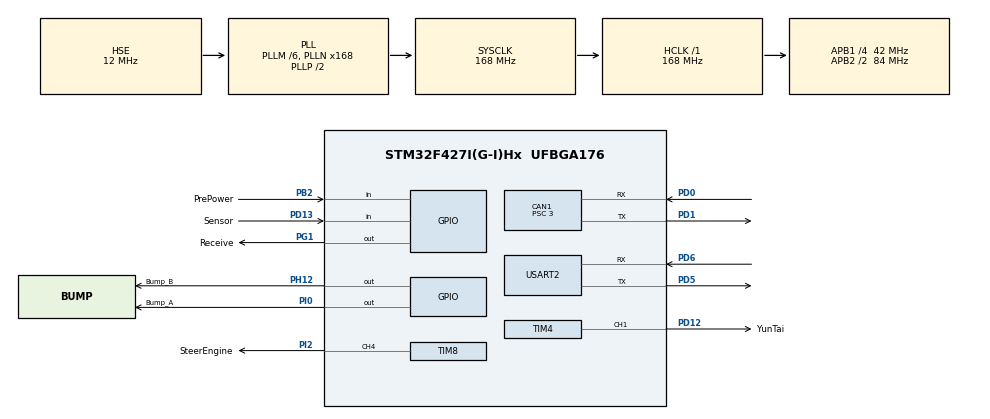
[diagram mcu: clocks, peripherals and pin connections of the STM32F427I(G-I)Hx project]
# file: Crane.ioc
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CAN1.BS1=CAN_BS1_10TQ
CAN1.BS2=CAN_BS2_3TQ
CAN1.CalculateBaudRate=1000000
CAN1.CalculateTimeBit=1000
CAN1.CalculateTimeQuantum=71.42857142857143
CAN1.Prescaler=3
FREERTOS.Tasks01=SupportLifting,24,4096,Lifting,Default,NULL,Dynamic,NULL,NULL;Signal,24,4096,SignalTransmission,Default,NULL,Dynamic,NULL,NULL;Transmit,24,1028,Printf,Default,NULL,Dynamic,NULL,NULL
FREERTOS.configTOTAL_HEAP_SIZE=40960
Mcu.Family=STM32F4
Mcu.Name=STM32F427I(G-I)Hx
Mcu.Package=UFBGA176
NVIC.CAN1_RX0_IRQn=true\:5\:0\:false\:false\:true\:true\:true\:true\:true
NVIC.PriorityGroup=NVIC_PRIORITYGROUP_4
NVIC.TIM1_UP_TIM10_IRQn=true\:15\:0\:false\:false\:true\:false\:false\:true\:true
NVIC.TIM8_CC_IRQn=true\:5\:0\:false\:false\:true\:true\:true\:true\:true
NVIC.TimeBase=TIM1_UP_TIM10_IRQn
NVIC.TimeBaseIP=TIM1
PA13.Mode=Serial_Wire
PA13.Signal=SYS_JTMS-SWDIO
PA14.Mode=Serial_Wire
PA14.Signal=SYS_JTCK-SWCLK
PB2/BOOT1.GPIO_Label=PrePower
PB2/BOOT1.GPIO_PuPd=GPIO_PULLDOWN
PB2/BOOT1.Signal=GPIO_Input
PC14/OSC32_IN.Mode=LSE-External-Oscillator
PC14/OSC32_IN.Signal=RCC_OSC32_IN
PC15/OSC32_OUT.Mode=LSE-External-Oscillator
PC15/OSC32_OUT.Signal=RCC_OSC32_OUT
PD0.Mode=CAN_Activate
PD0.Signal=CAN1_RX
PD1.Mode=CAN_Activate
PD1.Signal=CAN1_TX
PD12.GPIO_Label=YunTai
PD12.Signal=S_TIM4_CH1
PD13.GPIO_Label=Sensor
PD13.GPIO_PuPd=GPIO_PULLDOWN
PD13.Signal=GPIO_Input
PD5.Mode=Asynchronous
PD5.Signal=USART2_TX
PD6.Mode=Asynchronous
PD6.Signal=USART2_RX
PG1.GPIO_Label=Receive
PG1.GPIO_ModeDefaultOutputPP=GPIO_MODE_OUTPUT_PP
PG1.GPIO_PuPd=GPIO_PULLDOWN
PG1.GPIO_Speed=GPIO_SPEED_FREQ_HIGH
PG1.PinState=GPIO_PIN_RESET
PG1.Signal=GPIO_Output
PH0/OSC_IN.Mode=HSE-External-Oscillator
PH0/OSC_IN.Signal=RCC_OSC_IN
PH1/OSC_OUT.Mode=HSE-External-Oscillator
PH1/OSC_OUT.Signal=RCC_OSC_OUT
PH12.GPIO_Label=Bump_B
PH12.GPIO_PuPd=GPIO_PULLUP
PH12.GPIO_Speed=GPIO_SPEED_FREQ_HIGH
PH12.PinState=GPIO_PIN_SET
PH12.Signal=GPIO_Output
PI0.GPIO_Label=Bump_A
PI0.GPIO_PuPd=GPIO_PULLUP
PI0.GPIO_Speed=GPIO_SPEED_FREQ_HIGH
PI0.PinState=GPIO_PIN_SET
PI0.Signal=GPIO_Output
PI2.GPIO_Label=SteerEngine
PI2.Signal=S_TIM8_CH4
ProjectManager.HeapSize=0x200
ProjectManager.StackSize=0x400
ProjectManager.TargetToolchain=MDK-ARM V5.32
RCC.48MHZClocksFreq_Value=84000000
RCC.AHBFreq_Value=168000000
RCC.APB1CLKDivider=RCC_HCLK_DIV4
RCC.APB1Freq_Value=42000000
RCC.APB1TimFreq_Value=84000000
RCC.APB2CLKDivider=RCC_HCLK_DIV2
RCC.APB2Freq_Value=84000000
RCC.APB2TimFreq_Value=168000000
RCC.CortexFreq_Value=168000000
RCC.HCLKFreq_Value=168000000
RCC.HSE_VALUE=12000000
RCC.HSI_VALUE=16000000
RCC.PLLM=6
RCC.PLLN=168
RCC.PLLSourceVirtual=RCC_PLLSOURCE_HSE
RCC.SYSCLKFreq_VALUE=168000000
RCC.SYSCLKSource=RCC_SYSCLKSOURCE_PLLCLK
RCC.VCOOutputFreq_Value=336000000
SH.S_TIM4_CH1.0=TIM4_CH1,PWM Generation1 CH1
SH.S_TIM8_CH4.0=TIM8_CH4,PWM Generation4 CH4
TIM4.AutoReloadPreload=TIM_AUTORELOAD_PRELOAD_ENABLE
TIM4.Channel-PWM\ Generation1\ CH1=TIM_CHANNEL_1
TIM4.Period=19999
TIM4.Prescaler=83
TIM4.Pulse-PWM\ Generation1\ CH1=1393
TIM8.AutoReloadPreload=TIM_AUTORELOAD_PRELOAD_DISABLE
TIM8.Channel-PWM\ Generation4\ CH4=TIM_CHANNEL_4
TIM8.OCMode_PWM-PWM\ Generation4\ CH4=TIM_OCMODE_PWM2
TIM8.OCPolarity_4=TIM_OCPOLARITY_LOW
TIM8.Period=19999
TIM8.Prescaler=167
TIM8.Pulse-PWM\ Generation4\ CH4=500
USART2.VirtualMode=VM_ASYNC
VP_FREERTOS_VS_CMSIS_V2.Mode=CMSIS_V2
VP_SYS_VS_tim1.Mode=TIM1
VP_TIM4_VS_ClockSourceINT.Mode=Internal
VP_TIM8_VS_ClockSourceINT.Mode=Internal
board=custom

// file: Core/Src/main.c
/* USER CODE BEGIN Header */
/**
  ******************************************************************************
  * @file           : main.c
  * @brief          : Main program body
  ******************************************************************************
  * @attention
  *
  * Copyright (c) 2023 STMicroelectronics.
  * All rights reserved.
  *
  * This software is licensed under terms that can be found in the LICENSE file
  * in the root directory of this software component.
  * If no LICENSE file comes with this software, it is provided AS-IS.
  *
  ******************************************************************************
  */
/* USER CODE END Header */
#include "main.h"
#include "cmsis_os.h"
#include "can.h"
#include "tim.h"
#include "usart.h"
#include "gpio.h"

void SystemClock_Config(void);
void MX_FREERTOS_Init(void);

int main(void)
{

  /* MCU Configuration--------------------------------------------------------*/

  /* Reset of all peripherals, Initializes the Flash interface and the Systick. */
  HAL_Init();

  /* Configure the system clock */
  SystemClock_Config();

  /* Initialize all configured peripherals */
  MX_GPIO_Init();
  MX_CAN1_Init();
  MX_USART2_UART_Init();
  MX_TIM8_Init();
  MX_TIM4_Init();
  /* USER CODE BEGIN 2 */
	HAL_CAN_Start(&hcan1);
	HAL_TIM_PWM_Start(&htim4, TIM_CHANNEL_1);
	HAL_TIM_PWM_Start(&htim8, TIM_CHANNEL_4);
  /* USER CODE END 2 */

  /* Init scheduler */
  osKernelInitialize();  /* Call init function for freertos objects (in freertos.c) */
  MX_FREERTOS_Init();

  /* Start scheduler */
  osKernelStart();
  /* We should never get here as control is now taken by the scheduler */
  /* Infinite loop */
  while (1)
  {

  }
}

void SystemClock_Config(void)
{
  RCC_OscInitTypeDef RCC_OscInitStruct = {0};
  RCC_ClkInitTypeDef RCC_ClkInitStruct = {0};

  /** Configure the main internal regulator output voltage
  */
  __HAL_RCC_PWR_CLK_ENABLE();
  __HAL_PWR_VOLTAGESCALING_CONFIG(PWR_REGULATOR_VOLTAGE_SCALE1);

  /** Initializes the RCC Oscillators according to the specified parameters
  * in the RCC_OscInitTypeDef structure.
  */
  RCC_OscInitStruct.OscillatorType = RCC_OSCILLATORTYPE_HSE;
  RCC_OscInitStruct.HSEState = RCC_HSE_ON;
  RCC_OscInitStruct.PLL.PLLState = RCC_PLL_ON;
  RCC_OscInitStruct.PLL.PLLSource = RCC_PLLSOURCE_HSE;
  RCC_OscInitStruct.PLL.PLLM = 6;
  RCC_OscInitStruct.PLL.PLLN = 168;
  RCC_OscInitStruct.PLL.PLLP = RCC_PLLP_DIV2;
  RCC_OscInitStruct.PLL.PLLQ = 4;
  if (HAL_RCC_OscConfig(&RCC_OscInitStruct) != HAL_OK)
  {
    Error_Handler();
  }

  /** Initializes the CPU, AHB and APB buses clocks
  */
  RCC_ClkInitStruct.ClockType = RCC_CLOCKTYPE_HCLK|RCC_CLOCKTYPE_SYSCLK
                              |RCC_CLOCKTYPE_PCLK1|RCC_CLOCKTYPE_PCLK2;
  RCC_ClkInitStruct.SYSCLKSource = RCC_SYSCLKSOURCE_PLLCLK;
  RCC_ClkInitStruct.AHBCLKDivider = RCC_SYSCLK_DIV1;
  RCC_ClkInitStruct.APB1CLKDivider = RCC_HCLK_DIV4;
  RCC_ClkInitStruct.APB2CLKDivider = RCC_HCLK_DIV2;

  if (HAL_RCC_ClockConfig(&RCC_ClkInitStruct, FLASH_LATENCY_5) != HAL_OK)
  {
    Error_Handler();
  }
}

void HAL_TIM_PeriodElapsedCallback(TIM_HandleTypeDef *htim)
{
  if (htim->Instance == TIM1) {
    HAL_IncTick();
  }
}

void Error_Handler(void)
{
  __disable_irq();
  while (1)
  {
  }
}

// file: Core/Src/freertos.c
/* USER CODE BEGIN Header */
/**
  ******************************************************************************
  * File Name          : freertos.c
  * Description        : Code for freertos applications
  ******************************************************************************
  * @attention
  *
  * Copyright (c) 2023 STMicroelectronics.
  * All rights reserved.
  *
  * This software is licensed under terms that can be found in the LICENSE file
  * in the root directory of this software component.
  * If no LICENSE file comes with this software, it is provided AS-IS.
  *
  ******************************************************************************
  */
/* USER CODE END Header */

#include "FreeRTOS.h"
#include "task.h"
#include "main.h"
#include "cmsis_os.h"

/* USER CODE BEGIN Includes */
#include <tim.h>
#include <gpio.h>
#include <pid.h>
#include <usart.h>
/* USER CODE END Includes */

/* USER CODE BEGIN PTD */
extern pid_speed* MOTOR3508_PID_SPEED;
extern pid_speed* MOTOR2006_PID_SPEED;

extern pid_position* MOTOR3508_PID_POSITION;
extern pid_position_speed* MOTOR3508_PID_POSITION_SPEED;

extern pid_position_speed* MOTOR6020_PID_POSITION_SPEED;
/* USER CODE END PTD */

/* USER CODE BEGIN PD */

#define	BOXUPOSITIONFIRST					15000						//第一个箱子放置位置上方
#define	BOXPOSITIONFIRST					9780						//第一个箱子放置位置

#define	BOXUPOSITIONSECOND				18000						//第二个箱子放置位置上方
#define	BOXPOSITIONSECOND					16333						//第二个箱子放置位置

#define BOXUPOSITIONTHIRD					24000						//第三个箱子放置位置上方
#define	BOXPOSITIONTHIRD					22869						//第三个箱子放置位置

#define	COCAUPOSITION							13309						//可乐放置位置上方
#define COCAPOSITION							10325						//可乐放置位置
#define COCALLPOSITION						8525						//所有可乐放置位置

#define	INITPOSITION							8000						//3508初始位置
#define	BOXGET										6000						//3508取箱子位置
#define COCAGET										5000						//3508取可乐位置

#define BOXGIVEFIRST							17052						//放置下层箱子位置
#define BOXGIVEFIRSTUP						18000						//放置下层箱子位置上方
#define	BOXGIVESECOND							24052						//放置上次箱子位置
#define	BOXGIVESECONDUP						26000						//放置上次箱子位置上方

#define COCAGIVE									23325						//放置可乐位置
#define	COCAGIVEUP								25000						//放置可乐位置上方

#define	BOX6020										1775						//6020放置箱子位置
#define	COCA6020									1165						//6020放置可乐位置
#define	COCALL6020								1117						//6020取所有可乐位置
#define INIT6020									1393						//6020初始位置

#define	COCAFIR6020								1440						//6020放第一个可乐
#define COCASEC6020								1393						//6020放第二个可乐
#define COCATHI6020								1340						//6020放第三个可乐
#define COCAALL6020								1393						//6020放置所有可乐

#define	SPEED2006FOR							2000						//2006前段速度
#define	SPEED2006MID							2000						//2006中段速度
#define	SPEED2006BACK							4000						//2006后段速度

#define DJSPEED										30							//舵机速度
#define	DJANGLEFIR								4								//可乐一位置
#define DJANGLESEC								124							//可乐二位置
#define	DJANGLETHI								244							//可乐三位置
#define DJANGLE										20							//可乐位置

#define	Mode											0								//模式切换 0一个一个抓	1抓全部

/* USER CODE END PD */

/* USER CODE BEGIN Variables */

int			SensorPos 			= 0;
int			Sensor					=	0;
int			SensorF					=	1;
char		ItemType[1]			= "A";
uint8_t	RecData[1]			=	"N";
int			CocaNum					= 0;
int			BoxNum					= 0;

int			steering_speed;
float		angle;
int			step_angle			=	0;
int			MODE						= Mode;
int			PrePowerStatus	=	0;
/* USER CODE END Variables */
/* Definitions for SupportLifting */
osThreadId_t SupportLiftingHandle;
const osThreadAttr_t SupportLifting_attributes = {
  .name = "SupportLifting",
  .stack_size = 4096 * 4,
  .priority = (osPriority_t) osPriorityNormal,
};
/* Definitions for Signal */
osThreadId_t SignalHandle;
const osThreadAttr_t Signal_attributes = {
  .name = "Signal",
  .stack_size = 4096 * 4,
  .priority = (osPriority_t) osPriorityNormal,
};
/* Definitions for Transmit */
osThreadId_t TransmitHandle;
const osThreadAttr_t Transmit_attributes = {
  .name = "Transmit",
  .stack_size = 1028 * 4,
  .priority = (osPriority_t) osPriorityNormal,
};

/* USER CODE BEGIN FunctionPrototypes */

void steering_angle(int steering_speed, float angle)
{
  angle = 6.5f * angle + 495.f;
  if(step_angle <= angle)
  {
    for(;step_angle < angle;)
    {
      step_angle += steering_speed;
      __HAL_TIM_SetCompare(&htim8, TIM_CHANNEL_4, step_angle);
      vTaskDelay(50);
    }
    __HAL_TIM_SetCompare(&htim8, TIM_CHANNEL_4, angle);
  }
  else if(step_angle > angle)
  {
    for(;step_angle > angle;)
    {
      step_angle -= steering_speed;
      __HAL_TIM_SetCompare(&htim8, TIM_CHANNEL_4, step_angle);
      vTaskDelay(50);
    }
    __HAL_TIM_SetCompare(&htim8, TIM_CHANNEL_4, angle);
  }
  else if(step_angle == angle)
    __HAL_TIM_SetCompare(&htim8, TIM_CHANNEL_4, angle);

}

/* USER CODE END FunctionPrototypes */

void Lifting(void *argument);
void SignalTransmission(void *argument);
void Printf(void *argument);

void MX_FREERTOS_Init(void); /* (MISRA C 2004 rule 8.1) */

void MX_FREERTOS_Init(void) {

  /* Create the thread(s) */
  /* creation of SupportLifting */
  SupportLiftingHandle = osThreadNew(Lifting, NULL, &SupportLifting_attributes);

  /* creation of Signal */
  SignalHandle = osThreadNew(SignalTransmission, NULL, &Signal_attributes);

  /* creation of Transmit */
  TransmitHandle = osThreadNew(Printf, NULL, &Transmit_attributes);

}

void Lifting(void *argument)
{
  /* USER CODE BEGIN Lifting */
  /* Infinite loop */
  for(;;)
  {
		if(PrePower == 1)
		{
		static _Bool Init = 0;
		if(Init == 0)
		{
			MOTOR3508_PID_POSITION_SPEED->TarPos = 0;
			MOTOR2006_PID_SPEED->TarSpd = 0;
			__HAL_TIM_SetCompare(&htim4, TIM_CHANNEL_1, INIT6020);
			steering_angle(30, 3);
			BUMP_A_CLOSE;
			BUMP_B_CLOSE;
			vTaskDelay(500);
		}
		Init = 1;

		static _Bool FirPart = 0;
		if(FirPart == 0)
		{
			MOTOR2006_PID_SPEED->TarSpd = SPEED2006FOR;
			MOTOR3508_PID_POSITION_SPEED->TarPos = INITPOSITION;
		}
		FirPart = 1;

		if((SensorPos == 1 || SensorPos == 2 || SensorPos == 3 || SensorPos == 4 || SensorPos == 5 || SensorPos == 6) && Sensor == 1)
		{
			MOTOR2006_PID_SPEED->TarSpd = 0;
			vTaskDelay(100);
			if(ItemType[0] == 'B')
			{
				ItemType[0] = 'A';
				BUMP_A_OPEN;
				MOTOR3508_PID_POSITION_SPEED->TarPos = BOXGET;
				vTaskDelay(2000);
				if(BoxNum == 0)
					MOTOR3508_PID_POSITION_SPEED->TarPos = BOXUPOSITIONFIRST;
				else if(BoxNum == 1)
					MOTOR3508_PID_POSITION_SPEED->TarPos = BOXUPOSITIONSECOND;
				else if(BoxNum == 2)
					MOTOR3508_PID_POSITION_SPEED->TarPos = BOXUPOSITIONTHIRD;
				vTaskDelay(2000);
				__HAL_TIM_SetCompare(&htim4, TIM_CHANNEL_1, BOX6020);
        vTaskDelay(3000);
				if(BoxNum == 0)
				{
					BoxNum++;
					MOTOR3508_PID_POSITION_SPEED->TarPos = BOXPOSITIONFIRST;
					vTaskDelay(2000);
					BUMP_A_CLOSE;
					vTaskDelay(1500);
					MOTOR3508_PID_POSITION_SPEED->TarPos = BOXUPOSITIONFIRST;
				}
				else if(BoxNum == 1)
				{
					BoxNum++;
					MOTOR3508_PID_POSITION_SPEED->TarPos = BOXPOSITIONSECOND;
					vTaskDelay(2000);
					BUMP_A_CLOSE;
					vTaskDelay(1500);
					MOTOR3508_PID_POSITION_SPEED->TarPos = BOXUPOSITIONSECOND;
				}
				else if(BoxNum == 2)
				{
					BoxNum++;
					MOTOR3508_PID_POSITION_SPEED->TarPos = BOXPOSITIONTHIRD;
					vTaskDelay(2000);
					BUMP_A_CLOSE;
					vTaskDelay(1500);
					MOTOR3508_PID_POSITION_SPEED->TarPos = BOXUPOSITIONTHIRD;
				}
				vTaskDelay(1000);
				if(SensorPos == 6)
				{
					MOTOR2006_PID_SPEED->TarSpd = SPEED2006BACK;
					vTaskDelay(500);
				}
				else
				{
          __HAL_TIM_SetCompare(&htim4, TIM_CHANNEL_1, INIT6020);
          vTaskDelay(2000);
					MOTOR3508_PID_POSITION_SPEED->TarPos = INITPOSITION;
					MOTOR2006_PID_SPEED->TarSpd = SPEED2006MID;
				}
				Sensor = 0;
			}
			else if(ItemType[0] == 'C')
			{
				ItemType[0] = 'A';
				BUMP_A_OPEN;
				MOTOR3508_PID_POSITION_SPEED->TarPos = COCAGET;
				vTaskDelay(2000);
				MOTOR3508_PID_POSITION_SPEED->TarPos = COCAUPOSITION;
				__HAL_TIM_SetCompare(&htim4, TIM_CHANNEL_1, COCA6020);
				if(CocaNum == 0)
				{
					CocaNum++;
					steering_angle(DJSPEED, DJANGLEFIR);
				}
				else if(CocaNum == 1)
				{
					CocaNum++;
					steering_angle(DJSPEED, DJANGLESEC);
				}
				else if(CocaNum == 2)
				{
					CocaNum++;
					steering_angle(DJSPEED, DJANGLETHI);
				}
        vTaskDelay(2500);
				MOTOR3508_PID_POSITION_SPEED->TarPos = COCAPOSITION;
				vTaskDelay(500);
				BUMP_A_CLOSE;
				vTaskDelay(1500);
				MOTOR3508_PID_POSITION_SPEED->TarPos = COCAUPOSITION;
				if(SensorPos == 6)
				{
					MOTOR3508_PID_POSITION_SPEED->TarPos = BOXUPOSITIONTHIRD;
					MOTOR2006_PID_SPEED->TarSpd = SPEED2006BACK;
					__HAL_TIM_SetCompare(&htim4, TIM_CHANNEL_1, BOX6020);
				}
				else
				{
          __HAL_TIM_SetCompare(&htim4, TIM_CHANNEL_1, INIT6020);
          vTaskDelay(3000);
					MOTOR3508_PID_POSITION_SPEED->TarPos = INITPOSITION;
					MOTOR2006_PID_SPEED->TarSpd = SPEED2006MID;
				}
				Sensor = 0;
			}
		}

		if(SensorPos == 7 && Sensor == 1)
		{
			MOTOR2006_PID_SPEED->TarSpd = 0;
			vTaskDelay(500);
			for(;BoxNum >= 1;BoxNum--)
			{
				if(BoxNum == 2)
				{
					BUMP_A_OPEN;
					MOTOR3508_PID_POSITION_SPEED->TarPos = BOXPOSITIONTHIRD;
					vTaskDelay(1500);
					MOTOR3508_PID_POSITION_SPEED->TarPos = BOXUPOSITIONTHIRD;
					vTaskDelay(1500);
					__HAL_TIM_SetCompare(&htim4, TIM_CHANNEL_1, INIT6020);
					vTaskDelay(3000);
					MOTOR3508_PID_POSITION_SPEED->TarPos = BOXGIVEFIRST;												//A4纸下层箱子位置
					vTaskDelay(1500);
					BUMP_A_CLOSE;
					vTaskDelay(1500);
					MOTOR3508_PID_POSITION_SPEED->TarPos = BOXUPOSITIONSECOND;
					vTaskDelay(1500);
					__HAL_TIM_SetCompare(&htim4, TIM_CHANNEL_1, BOX6020);
          vTaskDelay(2000);
				}
				else if(BoxNum == 1)
				{
					BUMP_A_OPEN;
					MOTOR3508_PID_POSITION_SPEED->TarPos = BOXPOSITIONSECOND;
					vTaskDelay(1500);
					MOTOR3508_PID_POSITION_SPEED->TarPos = BOXGIVESECONDUP;
					vTaskDelay(1500);
					__HAL_TIM_SetCompare(&htim4, TIM_CHANNEL_1, INIT6020);
					vTaskDelay(3000);
					MOTOR3508_PID_POSITION_SPEED->TarPos = BOXGIVESECOND;												//A4纸上层箱子位置
					vTaskDelay(1500);
					BUMP_A_CLOSE;
					vTaskDelay(1500);
					MOTOR3508_PID_POSITION_SPEED->TarPos = BOXGIVESECONDUP;
					vTaskDelay(1500);
					__HAL_TIM_SetCompare(&htim4, TIM_CHANNEL_1, BOX6020);
				}
        vTaskDelay(2000);
			}
			MOTOR2006_PID_SPEED->TarSpd = SPEED2006BACK;

			Sensor = 0;
		}
		else if(SensorPos == 8 && Sensor == 1 && MODE == 0)
		{
			MOTOR2006_PID_SPEED->TarSpd = 0;
			vTaskDelay(500);
			{
				BUMP_A_OPEN;
				MOTOR3508_PID_POSITION_SPEED->TarPos = BOXPOSITIONFIRST;
				vTaskDelay(1500);
				MOTOR3508_PID_POSITION_SPEED->TarPos = BOXGIVEFIRSTUP;
				vTaskDelay(1500);
				__HAL_TIM_SetCompare(&htim4, TIM_CHANNEL_1, INIT6020);
				vTaskDelay(3000);
				MOTOR3508_PID_POSITION_SPEED->TarPos = BOXGIVEFIRST;												//A4纸下层箱子位置
				vTaskDelay(1500);
				BUMP_A_CLOSE;
				vTaskDelay(1500);
				MOTOR3508_PID_POSITION_SPEED->TarPos = BOXGIVEFIRSTUP;
				vTaskDelay(1500);
				__HAL_TIM_SetCompare(&htim4, TIM_CHANNEL_1, COCA6020);
				steering_angle(DJSPEED, DJANGLEFIR);
				vTaskDelay(2000);
			}

			for(;CocaNum >= 0;CocaNum--)
			{
				if(CocaNum == 2)
				{
					BUMP_A_OPEN;
					MOTOR3508_PID_POSITION_SPEED->TarPos = COCAPOSITION;
					vTaskDelay(1500);
					MOTOR3508_PID_POSITION_SPEED->TarPos = COCAGIVEUP;
					vTaskDelay(1500);
					__HAL_TIM_SetCompare(&htim4, TIM_CHANNEL_1, COCAFIR6020);
					vTaskDelay(3000);
					MOTOR3508_PID_POSITION_SPEED->TarPos = COCAGIVE;
					vTaskDelay(1500);
					BUMP_A_CLOSE;
					vTaskDelay(2000);
					MOTOR3508_PID_POSITION_SPEED->TarPos = COCAGIVEUP;
					vTaskDelay(1500);
					__HAL_TIM_SetCompare(&htim4, TIM_CHANNEL_1, COCA6020);
					steering_angle(DJSPEED, DJANGLESEC);
				vTaskDelay(3000);
				}
				if(CocaNum == 1)
				{
					BUMP_A_OPEN;
					MOTOR3508_PID_POSITION_SPEED->TarPos = COCAPOSITION;
					vTaskDelay(1500);
					MOTOR3508_PID_POSITION_SPEED->TarPos = COCAGIVEUP;
					vTaskDelay(1500);
					__HAL_TIM_SetCompare(&htim4, TIM_CHANNEL_1, COCASEC6020);
					vTaskDelay(3000);
					MOTOR3508_PID_POSITION_SPEED->TarPos = COCAGIVE;
					vTaskDelay(1500);
					BUMP_A_CLOSE;
					vTaskDelay(2000);
					MOTOR3508_PID_POSITION_SPEED->TarPos = COCAGIVEUP;
					vTaskDelay(1500);
					__HAL_TIM_SetCompare(&htim4, TIM_CHANNEL_1, COCA6020);
					steering_angle(DJSPEED, DJANGLETHI);
				vTaskDelay(3000);
				}
				if(CocaNum == 0)
				{
					BUMP_A_OPEN;
					MOTOR3508_PID_POSITION_SPEED->TarPos = COCAPOSITION;
					vTaskDelay(1500);
					MOTOR3508_PID_POSITION_SPEED->TarPos = COCAGIVEUP;
					vTaskDelay(1500);
					__HAL_TIM_SetCompare(&htim4, TIM_CHANNEL_1, COCATHI6020);
					vTaskDelay(3000);
					MOTOR3508_PID_POSITION_SPEED->TarPos = COCAGIVE;
					vTaskDelay(1500);
					BUMP_A_CLOSE;
					vTaskDelay(2000);
					MOTOR3508_PID_POSITION_SPEED->TarPos = COCAGIVEUP;
					vTaskDelay(1500);
				}
			}
			Sensor = 0;
		}
		else if(SensorPos == 8 && Sensor == 1 && MODE == 1)
		{
			MOTOR2006_PID_SPEED->TarSpd = 0;
			vTaskDelay(1000);
			{
				BUMP_A_OPEN;
				MOTOR3508_PID_POSITION_SPEED->TarPos = BOXPOSITIONFIRST;
				vTaskDelay(1500);
				MOTOR3508_PID_POSITION_SPEED->TarPos = BOXGIVEFIRSTUP;
				vTaskDelay(1500);
				__HAL_TIM_SetCompare(&htim4, TIM_CHANNEL_1, INIT6020);
				vTaskDelay(3000);
				MOTOR3508_PID_POSITION_SPEED->TarPos = BOXGIVEFIRST;												//A4纸下层箱子位置
				vTaskDelay(1500);
				BUMP_A_CLOSE;
				vTaskDelay(1500);
				MOTOR3508_PID_POSITION_SPEED->TarPos = BOXGIVEFIRSTUP;
				vTaskDelay(1500);
				__HAL_TIM_SetCompare(&htim4, TIM_CHANNEL_1, COCALL6020);
				steering_angle(DJSPEED, DJANGLE);
				vTaskDelay(2000);
			}
			BUMP_B_OPEN;
			MOTOR3508_PID_POSITION_SPEED->TarPos = COCALLPOSITION;
			vTaskDelay(5000);
			MOTOR3508_PID_POSITION_SPEED->TarPos = COCAGIVEUP;
			vTaskDelay(2000);
			__HAL_TIM_SetCompare(&htim4, TIM_CHANNEL_1, COCAALL6020);
			vTaskDelay(5000);
			MOTOR3508_PID_POSITION_SPEED->TarPos = COCAGIVE;
			vTaskDelay(2000);
			BUMP_B_CLOSE;
			vTaskDelay(3000);
			MOTOR3508_PID_POSITION_SPEED->TarPos = COCAGIVEUP;

      Sensor = 0;
		}
	}
		osDelay(1);
  }
  /* USER CODE END Lifting */
}

void SignalTransmission(void *argument)
{
  /* USER CODE BEGIN SignalTransmission */
  /* Infinite loop */
  for(;;)
  {
		RecData[0] = 'N';
		HAL_UART_Receive(&huart2, RecData, sizeof(RecData), 0xff);
		switch(RecData[0])
		{

			case '1':
			{
				ItemType[0] = 'B';
				break;
			}
			case '0':
			{
				ItemType[0] = 'C';
				break;
			}
			default:
				break;
		}

    osDelay(1);
  }
  /* USER CODE END SignalTransmission */
}

void Printf(void *argument)
{
  /* USER CODE BEGIN Printf */
  /* Infinite loop */
  for(;;)
  {
		if(PrePower == 1)
		{
			PrePowerStatus = 1;
		}

		if(Sensor == 0 && SensorF == 1)
		{
			if(SensorStatus == 1)
				{
					if(SensorStatus == 1)
						{
							SensorPos++;
							Sensor = 1;
              vTaskDelay(500);
              printf("1");
						}
				}
		}
		if(SensorStatus == 1)
		{
			SensorF = 0;
		}
		else if(SensorStatus == 0)
		{
			SensorF = 1;
		}

    osDelay(1);
  }
  /* USER CODE END Printf */
}
